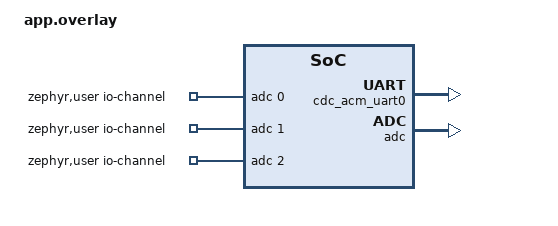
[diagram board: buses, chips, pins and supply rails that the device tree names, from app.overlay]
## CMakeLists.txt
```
cmake_minimum_required(VERSION 3.20.0)
find_package(Zephyr REQUIRED HINTS $ENV{ZEPHYR_BASE})
project(advanced_sensor_display)
target_sources(app PRIVATE src/main.c)
```

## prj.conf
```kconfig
CONFIG_ADC=y
CONFIG_GPIO=y
CONFIG_MULTITHREADING=y
CONFIG_CBPRINTF_FP_SUPPORT=y

# Enable USB Console
CONFIG_USB_DEVICE_STACK=y
CONFIG_USB_DEVICE_INITIALIZE_AT_BOOT=y
CONFIG_SERIAL=y
CONFIG_CONSOLE=y
CONFIG_UART_CONSOLE=y
CONFIG_UART_LINE_CTRL=y
```

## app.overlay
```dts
/ {
	chosen {
		zephyr,console = &cdc_acm_uart0;
	};

	zephyr,user {
		io-channels = <&adc 0>, <&adc 1>, <&adc 2>;
	};
};

&zephyr_udc0 {
	cdc_acm_uart0: cdc_acm_uart0 {
		compatible = "zephyr,cdc-acm-uart";
	};
};

&adc {
	status = "okay";
};
```

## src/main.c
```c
/*
 * ╔══════════════════════════════════════════════════════════════╗
 * ║     Advanced Sensor Display (ADC, TM1637, Mutex, 4 Threads)  ║
 * ║                                                              ║
 * ╠══════════════════════════════════════════════════════════════╣
 * ║  WIRING                                                      ║
 * ║                                                              ║
 * ║   Component            Pico GPIO    ADC Channel              ║
 * ║   ─────────            ─────────    ───────────              ║
 * ║   Light Sensor (LDR)   GP26         ADC0                     ║
 * ║   Temperature Sensor   GP27         ADC1                     ║
 * ║   Joystick X-axis      GP28         ADC2                     ║
 * ║                                                              ║
 * ║   TM1637 CLK           GP3                                   ║
 * ║   TM1637 DIO           GP2                                   ║
 * ║   TM1637 VCC           5V (VBUS)                             ║
 * ║   TM1637 GND           GND                                   ║
 * ╚══════════════════════════════════════════════════════════════╝
 */

#include <zephyr/kernel.h>
#include <zephyr/drivers/adc.h>
#include <zephyr/drivers/gpio.h>
#include <stdio.h>

#define STACK_SIZE 1024
#define PRIORITY   7

/* ── ADC Configuration ── */
#define ADC_NODE DT_NODELABEL(adc)
static const struct device *adc_dev = DEVICE_DT_GET(ADC_NODE);

#define ADC_RESOLUTION       12
#define ADC_GAIN             ADC_GAIN_1
#define ADC_REFERENCE        ADC_REF_INTERNAL
#define ADC_ACQUISITION_TIME ADC_ACQ_TIME_DEFAULT

#define LDR_CHANNEL  0
#define TEMP_CHANNEL 1
#define JOY_CHANNEL  2

/* ── TM1637 Configuration ── */
#define CLK_PIN 3
#define DIO_PIN 2
static const struct device *gpio_dev;

/* ── Shared Variables & Mutex ── */
struct sensor_data_t {
	float temperature;
	int16_t light;
	int16_t joystick;
};

struct sensor_data_t shared_sensors = {0};
K_MUTEX_DEFINE(sensor_mutex);

/* ─────────────────────────────────────────────────────────────
 * TM1637 Bit-Bang Driver 
 * ───────────────────────────────────────────────────────────── */
static uint8_t get_char_code(char c) {
	switch (c) {
		case '0': return 0x3F; case '1': return 0x06;
		case '2': return 0x5B; case '3': return 0x4F;
		case '4': return 0x66; case '5': return 0x6D;
		case '6': return 0x7D; case '7': return 0x07;
		case '8': return 0x7F; case '9': return 0x6F;
		case 'C': return 0x39; case 'L': return 0x38;
		case 'J': return 0x1E; case 't': return 0x78;
		case ' ': return 0x00; default:  return 0x00;
	}
}

static void start(void) {
	gpio_pin_configure(gpio_dev, DIO_PIN, GPIO_OUTPUT);
	gpio_pin_set(gpio_dev, DIO_PIN, 1);
	gpio_pin_set(gpio_dev, CLK_PIN, 1);
	k_busy_wait(5);
	gpio_pin_set(gpio_dev, DIO_PIN, 0);
	k_busy_wait(5);
	gpio_pin_set(gpio_dev, CLK_PIN, 0);
	k_busy_wait(5);
}

static void stop(void) {
	gpio_pin_configure(gpio_dev, DIO_PIN, GPIO_OUTPUT);
	gpio_pin_set(gpio_dev, CLK_PIN, 0);
	k_busy_wait(5);
	gpio_pin_set(gpio_dev, DIO_PIN, 0);
	k_busy_wait(5);
	gpio_pin_set(gpio_dev, CLK_PIN, 1);
	k_busy_wait(5);
	gpio_pin_set(gpio_dev, DIO_PIN, 1);
	k_busy_wait(5);
}

static void write_byte(uint8_t b) {
	gpio_pin_configure(gpio_dev, DIO_PIN, GPIO_OUTPUT);
	for (int i = 0; i < 8; i++) {
		gpio_pin_set(gpio_dev, CLK_PIN, 0);
		k_busy_wait(5);
		gpio_pin_set(gpio_dev, DIO_PIN, b & 1);
		k_busy_wait(5);
		gpio_pin_set(gpio_dev, CLK_PIN, 1);
		k_busy_wait(5);
		b >>= 1;
	}
	gpio_pin_set(gpio_dev, CLK_PIN, 0);
	k_busy_wait(5);
	gpio_pin_configure(gpio_dev, DIO_PIN, GPIO_INPUT | GPIO_PULL_UP);
	k_busy_wait(5);
	gpio_pin_set(gpio_dev, CLK_PIN, 1);
	k_busy_wait(5);
	gpio_pin_set(gpio_dev, CLK_PIN, 0);
	k_busy_wait(5);
	gpio_pin_configure(gpio_dev, DIO_PIN, GPIO_OUTPUT);
}

static void tm1637_display(const char *str) {
	start();
	write_byte(0x40);
	stop();

	start();
	write_byte(0xC0);
	for (int i = 0; i < 4; i++) { 
		write_byte(get_char_code(str[i])); 
	}
	stop();

	start();
	write_byte(0x8F); /* 0x80 | 8 (display on) | 7 (brightness) */
	stop();
}

/* ─────────────────────────────────────────────────────────────
 * ADC Helper Functions
 * ───────────────────────────────────────────────────────────── */
static void setup_adc_channel(uint8_t channel) {
	struct adc_channel_cfg channel_cfg = {
		.gain = ADC_GAIN,
		.reference = ADC_REFERENCE,
		.acquisition_time = ADC_ACQUISITION_TIME,
		.channel_id = channel,
		.differential = 0
	};
	adc_channel_setup(adc_dev, &channel_cfg);
}

static int16_t read_adc(uint8_t channel) {
	int16_t sample_buffer[1];
	struct adc_sequence sequence = {
		.channels    = BIT(channel),
		.buffer      = sample_buffer,
		.buffer_size = sizeof(sample_buffer),
		.resolution  = ADC_RESOLUTION,
	};
	
	if (adc_read(adc_dev, &sequence) < 0) {
		return -1;
	}
	return sample_buffer[0];
}

/* ─────────────────────────────────────────────────────────────
 * Thread 1: Temperature Sensor (ADC1 / GP27)
 * Runs every 1000 ms.
 * ───────────────────────────────────────────────────────────── */
void temperature_task(void *a, void *b, void *c)
{
	while (1) {
		int16_t raw_val = read_adc(TEMP_CHANNEL);
		float temp_c = 20.0 + ((float)raw_val / 4095.0) * 20.0; /* Mock conversion */
		
		/* Protect shared resource update */
		k_mutex_lock(&sensor_mutex, K_FOREVER);
		shared_sensors.temperature = temp_c;
		k_mutex_unlock(&sensor_mutex);
		
		printf("Temperature : %.1f C\n", (double)temp_c);
		k_sleep(K_MSEC(1000));
	}
}

/* ─────────────────────────────────────────────────────────────
 * Thread 2: Light Sensor / LDR (ADC0 / GP26)
 * Runs every 500 ms.
 * ───────────────────────────────────────────────────────────── */
void light_task(void *a, void *b, void *c)
{
	while (1) {
		int16_t raw_val = read_adc(LDR_CHANNEL);
		
		/* Protect shared resource update */
		k_mutex_lock(&sensor_mutex, K_FOREVER);
		shared_sensors.light = raw_val;
		k_mutex_unlock(&sensor_mutex);
		
		printf("Light : %d\n", raw_val);
		k_sleep(K_MSEC(500));
	}
}

/* ─────────────────────────────────────────────────────────────
 * Thread 3: Joystick X-Axis (ADC2 / GP28)
 * Runs every 200 ms.
 * ───────────────────────────────────────────────────────────── */
void joystick_task(void *a, void *b, void *c)
{
	while (1) {
		int16_t raw_val = read_adc(JOY_CHANNEL);
		
		/* Protect shared resource update */
		k_mutex_lock(&sensor_mutex, K_FOREVER);
		shared_sensors.joystick = raw_val;
		k_mutex_unlock(&sensor_mutex);
		
		printf("Joystick : %d\n", raw_val);
		k_sleep(K_MSEC(200));
	}
}

/* ─────────────────────────────────────────────────────────────
 * Thread 4: Display Task (TM1637)
 * Runs every 100 ms, updates display every 2000 ms.
 * ───────────────────────────────────────────────────────────── */
void display_task(void *a, void *b, void *c)
{
	int display_mode = 0; /* 0 = Temp, 1 = Light, 2 = Joystick */
	char display_str[5];

	while (1) {
		/* Protect shared resource read */
		k_mutex_lock(&sensor_mutex, K_FOREVER);
		float t = shared_sensors.temperature;
		int16_t l = shared_sensors.light;
		int16_t j = shared_sensors.joystick;
		k_mutex_unlock(&sensor_mutex);
		
		if (display_mode == 0) {
			snprintf(display_str, sizeof(display_str), "t %2d", (int)t);
		} else if (display_mode == 1) {
			snprintf(display_str, sizeof(display_str), "L%3d", l / 10); /* Scale for 3 digits */
		} else if (display_mode == 2) {
			snprintf(display_str, sizeof(display_str), "J%3d", j / 10); /* Scale for 3 digits */
		}

		tm1637_display(display_str);
		
		display_mode++;
		if (display_mode > 2) display_mode = 0;
		
		k_sleep(K_MSEC(2000));
	}
}

/* ── Spawn the Threads ── */
/*
 * Do not start these threads until main() has configured the ADC and GPIO.
 * Starting them with a fixed delay races main() and can make the display task
 * access gpio_dev while it is still NULL.
 */
K_THREAD_STACK_DEFINE(temp_stack, STACK_SIZE);
K_THREAD_STACK_DEFINE(light_stack, STACK_SIZE);
K_THREAD_STACK_DEFINE(joy_stack, STACK_SIZE);
K_THREAD_STACK_DEFINE(disp_stack, STACK_SIZE);

struct k_thread thread_temp;
struct k_thread thread_light;
struct k_thread thread_joy;
struct k_thread thread_disp;

/* ── Main Setup ── */
int main(void)
{
	/* Allow time for USB CDC ACM to enumerate on PC */
	k_sleep(K_MSEC(2000));

	if (!device_is_ready(adc_dev)) {
		printf("ADC device not ready!\n");
		return -1;
	}

	setup_adc_channel(TEMP_CHANNEL);
	setup_adc_channel(LDR_CHANNEL);
	setup_adc_channel(JOY_CHANNEL);

	gpio_dev = DEVICE_DT_GET(DT_NODELABEL(gpio0));
	if (!device_is_ready(gpio_dev)) {
		return -1;
	}

	gpio_pin_configure(gpio_dev, CLK_PIN, GPIO_OUTPUT_INACTIVE);
	gpio_pin_configure(gpio_dev, DIO_PIN, GPIO_OUTPUT_INACTIVE);
	gpio_pin_set(gpio_dev, CLK_PIN, 1);
	gpio_pin_set(gpio_dev, DIO_PIN, 1);

	printf("\n==========================================\n");
	printf("Advanced Sensor Display Started\n");
	printf("==========================================\n");

	/* Hardware smoke test: all segments must light for two seconds. */
	tm1637_display("8888");
	k_sleep(K_MSEC(2000));

	k_thread_create(&thread_temp, temp_stack, K_THREAD_STACK_SIZEOF(temp_stack), temperature_task, NULL, NULL, NULL, PRIORITY, 0, K_NO_WAIT);
	k_thread_create(&thread_light, light_stack, K_THREAD_STACK_SIZEOF(light_stack), light_task, NULL, NULL, NULL, PRIORITY, 0, K_NO_WAIT);
	k_thread_create(&thread_joy, joy_stack, K_THREAD_STACK_SIZEOF(joy_stack), joystick_task, NULL, NULL, NULL, PRIORITY, 0, K_NO_WAIT);
	k_thread_create(&thread_disp, disp_stack, K_THREAD_STACK_SIZEOF(disp_stack), display_task, NULL, NULL, NULL, PRIORITY, 0, K_NO_WAIT);

	return 0;
}
```
